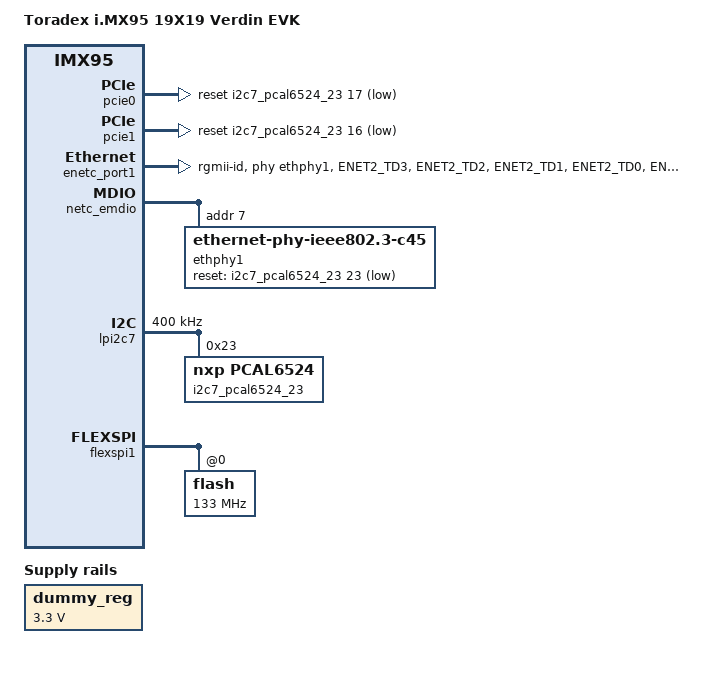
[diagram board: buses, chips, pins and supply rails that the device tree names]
// SPDX-License-Identifier: (GPL-2.0+ OR MIT)
/*
 * Copyright 2023-2024 NXP
 */

#include "../dts/upstream/src/arm64/freescale/imx95-19x19-evk.dts"
#include "imx95-u-boot.dtsi"
#include "imx95-19x19-evk-local.dtsi"

/ {
	model = "Toradex i.MX95 19X19 Verdin EVK";

	aliases {
		ethernet0 = &enetc_port0;
		ethernet1 = &enetc_port1;
		ethernet2 = &enetc_port2;
	};

	dummy_reg: dummy_reg {
		compatible = "regulator-fixed";
		regulator-name = "dummy_reg";
		regulator-min-microvolt = <3300000>;
		regulator-max-microvolt = <3300000>;
	};
};

&reg_usdhc2_vmmc {
	off-on-delay-us = <12000>;
	startup-delay-us = <10000>;
};

&reg_usb_vbus {
	gpio = <&i2c7_pcal6524_23 22 GPIO_ACTIVE_HIGH>;
};

&reg_aqr_stby {
	gpio = <&i2c7_pcal6524_23 8 GPIO_ACTIVE_HIGH>;
};

&reg_aqr_en {
	gpio = <&i2c7_pcal6524_23 21 GPIO_ACTIVE_HIGH>;
};

&reg_serdes_en {
	pinctrl-names = "default";
	pinctrl-0 = <&pinctrl_reg_serdes_en>;
	vin-supply = <&dummy_reg>;
	gpio = <&gpio4 28 GPIO_ACTIVE_LOW>;
};

&reg_m2_pwr {
    gpio = <&gpio2 4 GPIO_ACTIVE_LOW>;
    /delete-property/ enable-active-high;
};

&reg_pcie0 {
    gpio = <&i2c7_pcal6524_23 18 GPIO_ACTIVE_HIGH>;
};

&pcie0 {
    reset-gpio = <&i2c7_pcal6524_23 17 GPIO_ACTIVE_LOW>;
};

&pcie1 {
    /delete-property/ vpcie-supply;
    reset-gpio = <&i2c7_pcal6524_23 16 GPIO_ACTIVE_LOW>;
};

&enetc_port1 {
	pinctrl-names = "default";
	pinctrl-0 = <&pinctrl_enetc1>;
	phy-handle = <&ethphy1>;
	phy-mode = "rgmii-id";
	status = "okay";
};

&ethphy0 {
	reg = <1>;
	/delete-property/ reset-gpios;
};

&netc_emdio {
	ethphy1: ethernet-phy@7 {
		compatible = "ethernet-phy-ieee802.3-c45";
		reg = <7>;
		reset-gpios = <&i2c7_pcal6524_23 23 GPIO_ACTIVE_LOW>;
		reset-assert-us = <200>;
		reset-deassert-us = <2000>;
		tx-internal-delay-ps = <1800>;
		rx-internal-delay-ps = <1666>;
	};
};

&lpi2c4 {
    /delete-node/ audio-codec@1a;
};

&lpi2c7 {
	clock-frequency = <400000>;

	i2c7_pcal6524_23: i2c7-gpio@23 {
		compatible = "nxp,pcal6524";
		reg = <0x23>;
		gpio-controller;
		#gpio-cells = <2>;
	};
};

&flexspi1 {
	flash@0 {
		spi-max-frequency = <133000000>;
	};
};

&ptn5110 {
	reg = <0x52>;
};

&scmi_iomuxc {
	pinctrl_enetc1: enetc1grp {
		fsl,pins = <
			IMX95_PAD_ENET2_TD3__NETCMIX_TOP_ETH1_RGMII_TD3		0x50e
			IMX95_PAD_ENET2_TD2__NETCMIX_TOP_ETH1_RGMII_TD2		0x50e
			IMX95_PAD_ENET2_TD1__NETCMIX_TOP_ETH1_RGMII_TD1		0x50e
			IMX95_PAD_ENET2_TD0__NETCMIX_TOP_ETH1_RGMII_TD0		0x50e
			IMX95_PAD_ENET2_TX_CTL__NETCMIX_TOP_ETH1_RGMII_TX_CTL	0x57e
			IMX95_PAD_ENET2_TXC__NETCMIX_TOP_ETH1_RGMII_TX_CLK	0x58e
			IMX95_PAD_ENET2_RX_CTL__NETCMIX_TOP_ETH1_RGMII_RX_CTL	0x57e
			IMX95_PAD_ENET2_RXC__NETCMIX_TOP_ETH1_RGMII_RX_CLK	0x58e
			IMX95_PAD_ENET2_RD0__NETCMIX_TOP_ETH1_RGMII_RD0		0x57e
			IMX95_PAD_ENET2_RD1__NETCMIX_TOP_ETH1_RGMII_RD1		0x57e
			IMX95_PAD_ENET2_RD2__NETCMIX_TOP_ETH1_RGMII_RD2		0x57e
			IMX95_PAD_ENET2_RD3__NETCMIX_TOP_ETH1_RGMII_RD3		0x57e
		>;
	};

	pinctrl_pwm_3_dsi_hpd_gpio: dsihpdgrp {
		fsl,pins = <
			IMX95_PAD_GPIO_IO12__GPIO2_IO_BIT12			0x31e
		>;
	};

	pinctrl_reg_serdes_en: serdesengrp {
		fsl,pins = <
			IMX95_PAD_CCM_CLKO3__GPIO4_IO_BIT28			0x51e
		>;
	};
};

/delete-node/ &{/sound-wm8962};
/delete-node/ &reg_audio_pwr;
/delete-node/ &reg_audio_slot;
/delete-node/ &reg_slot_pwr;
/delete-node/ &reg_serdes_stby;
/delete-node/ &adp5585gpio;
/delete-node/ &i2c3_gpio_expander_20;
/delete-node/ &i2c4_gpio_expander_21;
/delete-node/ &i2c5_pcal6408;
/delete-node/ &i2c6_pcal6416;
/delete-node/ &i2c7_pcal6524;
/delete-node/ &pinctrl_i2c7_pcal6524;
